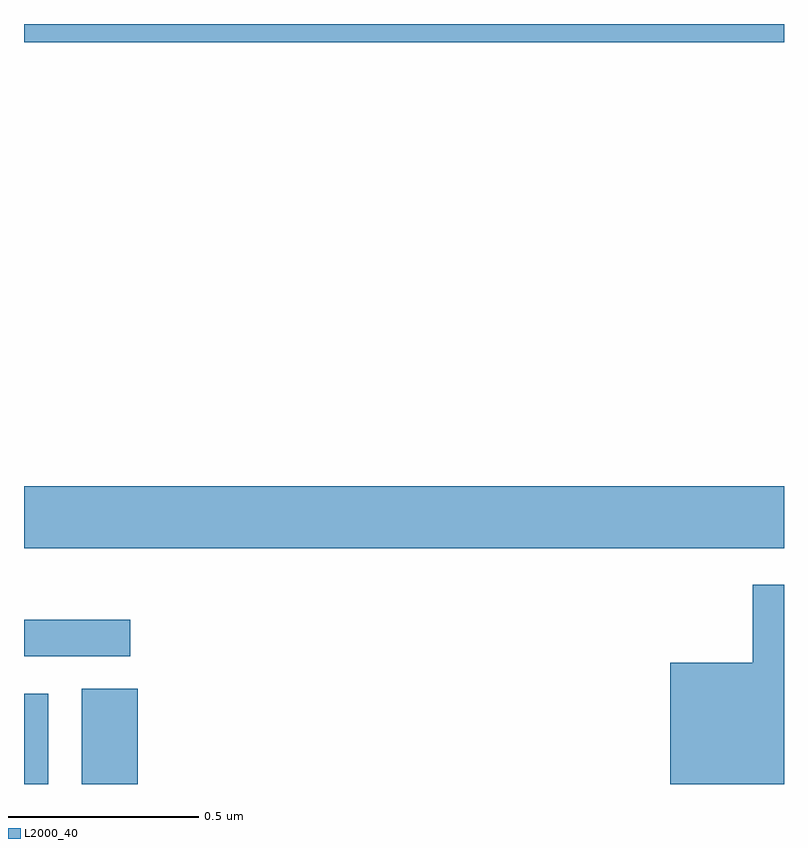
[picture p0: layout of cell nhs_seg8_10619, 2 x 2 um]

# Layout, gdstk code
import gdstk
lib = gdstk.Library(unit=1e-6, precision=1e-09)
def R(c, l, rs):  # rectangles x0, y0, x1, y1
    for r in rs: c.add(gdstk.rectangle(r[:2], r[2:], *l))
def P(c, l, *ps):  # polygons
    for p in ps: c.add(gdstk.Polygon(p, *l))
L2000_40 = (2000, 40)

nhs_seg8_10619 = lib.new_cell('nhs_seg8_10619')
R(nhs_seg8_10619, L2000_40, [(252,1095.9,252.064,1096.138), (252.152,1095.9,252.299,1096.151), (252,1096.236,252.28,1096.332), (252,1096.52,254,1096.684), (252,1097.852,254,1097.9)])
P(nhs_seg8_10619, L2000_40, [(254,1096.425),(253.918,1096.425),(253.918,1096.219),(253.7,1096.219),(253.7,1095.9),(254,1095.9)])

lib.write_gds('nhs_seg8_10619.gds')
